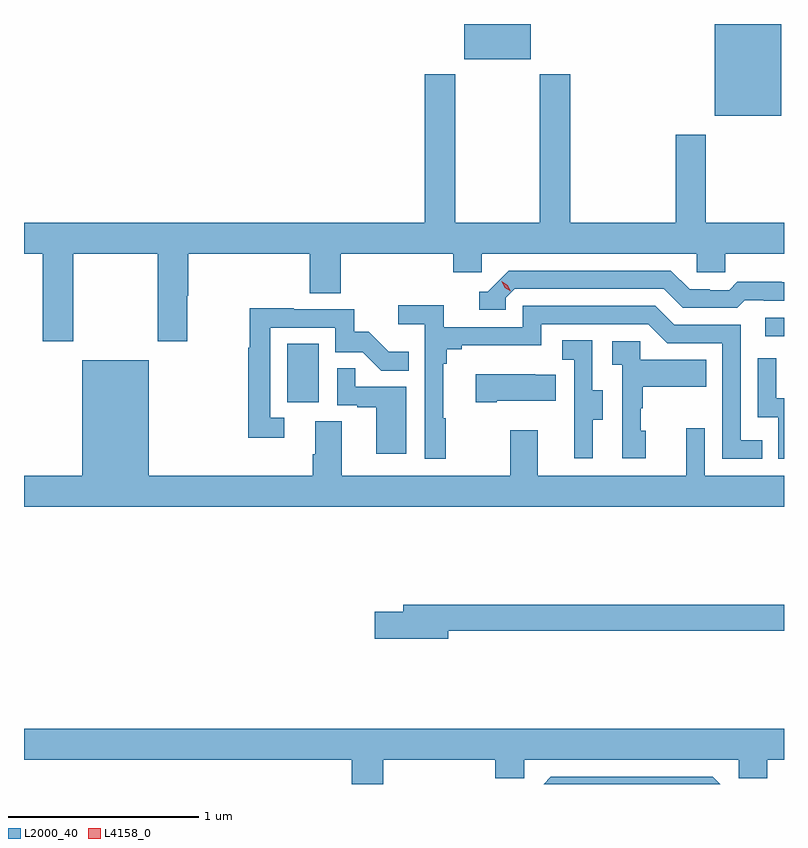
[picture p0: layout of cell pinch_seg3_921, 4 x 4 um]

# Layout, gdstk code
import gdstk
lib = gdstk.Library(unit=1e-6, precision=1e-09)
def R(c, l, rs):  # rectangles x0, y0, x1, y1
    for r in rs: c.add(gdstk.rectangle(r[:2], r[2:], *l))
def P(c, l, *ps):  # polygons
    for p in ps: c.add(gdstk.Polygon(p, *l))
L2000_40 = (2000, 40)
L4158_0 = (4158, 0)

pinch_seg3_921 = lib.new_cell('pinch_seg3_921')
R(pinch_seg3_921, L2000_40, [(881.048,673.494,881.212,673.801), (883.563,673.842,883.662,673.938), (883.298,675.002,883.648,675.485), (881.978,675.299,882.328,675.485)])
P(pinch_seg3_921, L2000_40, [(879.921,674.276),(880.366,674.276),(880.366,673.815),(880.521,673.815),(880.521,674.054),(880.526,674.054),(880.526,674.276),(881.165,674.276),(881.165,674.068),(881.33,674.068),(881.33,674.276),(881.921,674.276),(881.921,674.178),(882.072,674.178),(882.072,674.276),(883.203,674.276),(883.203,674.178),(883.353,674.178),(883.353,674.276),(883.662,674.276),(883.662,674.44),(883.251,674.44),(883.251,674.902),(883.091,674.902),(883.091,674.44),(882.536,674.44),(882.536,675.22),(882.376,675.22),(882.376,674.44),(881.931,674.44),(881.931,675.22),(881.771,675.22),(881.771,674.44),(879.662,674.44),(879.662,674.276),(879.761,674.276),(879.761,673.815),(879.921,673.815)],
  [(882.198,674.043),(882.246,674.091),(883.029,674.091),(883.128,673.992),(883.417,673.992),(883.456,674.031),(883.555,674.031),(883.555,674.028),(883.662,674.028),(883.662,674.125),(883.65,674.125),(883.65,674.128),(883.417,674.128),(883.375,674.085),(883.272,674.085),(883.272,674.088),(883.165,674.088),(883.066,674.187),(882.213,674.187),(882.102,674.076),(882.059,674.076),(882.059,673.98),(882.198,673.98)],
  [(881.881,673.409),(881.869,673.409),(881.869,673.697),(881.888,673.697),(881.888,673.774),(881.965,673.774),(881.965,673.793),(882.384,673.793),(882.384,673.905),(882.948,673.905),(883.047,673.806),(883.338,673.806),(883.338,673.197),(883.547,673.197),(883.547,673.293),(883.434,673.293),(883.434,673.902),(883.084,673.902),(882.985,674.001),(882.288,674.001),(882.288,673.89),(881.87,673.89),(881.87,674.006),(881.631,674.006),(881.631,673.904),(881.772,673.904),(881.772,673.197),(881.881,673.197)],
  [(881.032,673.413),(880.959,673.413),(880.959,673.887),(881.301,673.887),(881.301,673.758),(881.445,673.758),(881.543,673.66),(881.687,673.66),(881.687,673.759),(881.583,673.759),(881.476,673.866),(881.4,673.866),(881.4,673.983),(881.081,673.983),(881.081,673.988),(880.851,673.988),(880.851,673.78),(880.843,673.78),(880.843,673.308),(881.032,673.308)],
  [(882.655,673.402),(882.709,673.402),(882.709,673.557),(882.654,673.557),(882.654,673.82),(882.495,673.82),(882.495,673.717),(882.558,673.717),(882.558,673.413),(882.557,673.413),(882.557,673.2),(882.655,673.2)],
  [(882.934,673.344),(882.909,673.344),(882.909,673.463),(882.919,673.463),(882.919,673.577),(883.253,673.577),(883.253,673.717),(882.906,673.717),(882.906,673.815),(882.759,673.815),(882.759,673.691),(882.81,673.691),(882.81,673.2),(882.934,673.2)],
  [(883.662,673.514),(883.62,673.514),(883.62,673.726),(883.524,673.726),(883.524,673.416),(883.632,673.416),(883.632,673.197),(883.662,673.197)],
  [(883.662,673.108),(883.245,673.108),(883.245,673.357),(883.148,673.357),(883.148,673.108),(882.367,673.108),(882.367,673.348),(882.22,673.348),(882.22,673.108),(881.335,673.108),(881.335,673.394),(881.195,673.394),(881.195,673.22),(881.183,673.22),(881.183,673.108),(880.318,673.108),(880.318,673.714),(879.968,673.714),(879.968,673.108),(879.662,673.108),(879.662,672.944),(883.662,672.944)],
  [(881.674,673.575),(881.405,673.575),(881.405,673.673),(881.31,673.673),(881.31,673.479),(881.417,673.479),(881.417,673.467),(881.516,673.467),(881.516,673.224),(881.674,673.224)],
  [(882.151,673.502),(882.461,673.502),(882.461,673.639),(882.353,673.639),(882.353,673.642),(882.039,673.642),(882.039,673.495),(882.151,673.495)],
  [(881.896,672.292),(883.662,672.292),(883.662,672.428),(881.657,672.428),(881.657,672.392),(881.508,672.392),(881.508,672.25),(881.896,672.25)],
  [(881.552,671.612),(882.143,671.612),(882.143,671.514),(882.294,671.514),(882.294,671.612),(883.425,671.612),(883.425,671.514),(883.575,671.514),(883.575,671.612),(883.662,671.612),(883.662,671.776),(879.662,671.776),(879.662,671.612),(881.387,671.612),(881.387,671.485),(881.552,671.485)],
  [(883.288,671.523),(882.435,671.523),(882.397,671.485),(883.326,671.485)])
P(pinch_seg3_921, L4158_0, [(882.224,674.078),(882.193,674.098),(882.176,674.13),(882.176,674.131),(882.176,674.131),(882.208,674.111),(882.224,674.078),(882.224,674.078)])

lib.write_gds('pinch_seg3_921.gds')
